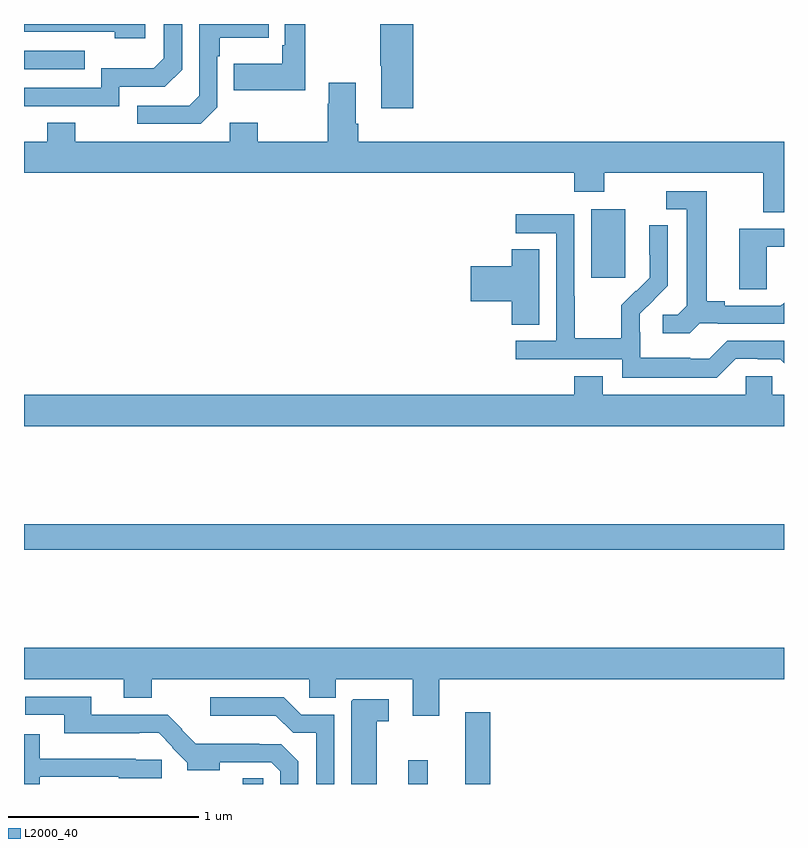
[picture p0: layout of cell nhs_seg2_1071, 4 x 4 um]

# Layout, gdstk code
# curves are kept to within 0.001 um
import gdstk
lib = gdstk.Library(unit=1e-6, precision=1e-09)
def R(c, l, rs):  # rectangles x0, y0, x1, y1
    for r in rs: c.add(gdstk.rectangle(r[:2], r[2:], *l))
def P(c, l, *ps):  # polygons
    for p in ps: c.add(gdstk.Polygon(p, *l))
L2000_40 = (2000, 40)

nhs_seg2_1071 = lib.new_cell('nhs_seg2_1071')
R(nhs_seg2_1071, L2000_40, [(168.15,597.8,168.258,597.83), (169.022,597.8,169.126,597.925), (169.322,597.8,169.454,598.177), (167,599.032,171,599.168), (169.985,600.465,170.164,600.826), (167,601.563,167.321,601.659)])
P(nhs_seg2_1071, L2000_40, [(168.018,601.362),(168.018,601.631),(168.031,601.631),(168.031,601.727),(168.287,601.727),(168.287,601.8),(167.922,601.8),(167.922,601.422),(167.871,601.371),(167.595,601.371),(167.595,601.275),(167.931,601.275)],
  [(167.638,601.8),(167,601.8),(167,601.758),(167.477,601.758),(167.477,601.724),(167.638,601.724)],
  [(168.481,601.8),(168.372,601.8),(168.372,601.687),(168.36,601.687),(168.36,601.591),(168.103,601.591),(168.103,601.451),(168.481,601.451)],
  [(169.049,601.8),(168.874,601.8),(168.874,601.579),(168.881,601.579),(168.881,601.356),(169.049,601.356)],
  [(167.502,601.47),(167.742,601.47),(167.832,601.56),(167.832,601.8),(167.736,601.8),(167.736,601.62),(167.683,601.567),(167.406,601.567),(167.406,601.464),(167,601.464),(167,601.368),(167.502,601.368)],
  [(171,601.18),(168.758,601.18),(168.758,601.276),(168.745,601.276),(168.745,601.492),(168.605,601.492),(168.605,601.379),(168.598,601.379),(168.598,601.18),(168.231,601.18),(168.231,601.279),(168.084,601.279),(168.084,601.18),(167.271,601.18),(167.271,601.279),(167.123,601.279),(167.123,601.18),(167,601.18),(167,601.016),(169.895,601.016),(169.895,600.917),(170.055,600.917),(170.055,601.016),(170.891,601.016),(170.891,600.808),(171,600.808)],
  [(170.556,600.225),(170.65,600.225),(170.65,600.222),(171,600.222),(171,600.334),(170.984,600.318),(170.689,600.318),(170.689,600.341),(170.593,600.341),(170.593,600.921),(170.379,600.921),(170.379,600.825),(170.489,600.825),(170.489,600.317),(170.442,600.27),(170.361,600.27),(170.361,600.173),(170.504,600.173)],
  [(170.745,600.039),(170.861,600.039),(170.861,600.036),(170.979,600.036),(171,600.015),(171,600.132),(170.7,600.132),(170.607,600.039),(170.507,600.039),(170.507,600.043),(170.244,600.043),(170.244,600.177),(170.242,600.177),(170.242,600.274),(170.388,600.422),(170.388,600.74),(170.292,600.74),(170.292,600.586),(170.294,600.586),(170.294,600.464),(170.223,600.393),(170.22,600.396),(170.143,600.319),(170.143,600.145),(169.899,600.145),(169.899,600.368),(169.896,600.368),(169.896,600.798),(169.587,600.798),(169.587,600.699),(169.8,600.699),(169.8,600.132),(169.587,600.132),(169.587,600.036),(170.148,600.036),(170.148,599.939),(170.645,599.939)],
  [(170.91,600.627),(171,600.627),(171,600.723),(170.765,600.723),(170.765,600.403),(170.91,600.403)],
  [(169.711,600.614),(169.568,600.614),(169.568,600.524),(169.35,600.524),(169.35,600.341),(169.568,600.341),(169.568,600.217),(169.711,600.217)],
  [(171,599.848),(170.937,599.848),(170.937,599.946),(170.799,599.946),(170.799,599.848),(170.047,599.848),(170.047,599.947),(169.895,599.947),(169.895,599.848),(167,599.848),(167,599.684),(171,599.684)],
  [(169.186,598.352),(171,598.352),(171,598.516),(167,598.516),(167,598.352),(167.525,598.352),(167.525,598.253),(167.673,598.253),(167.673,598.352),(168.501,598.352),(168.501,598.254),(168.64,598.254),(168.64,598.352),(169.046,598.352),(169.046,598.158),(169.186,598.158)],
  [(168.444,597.921),(168.355,598.01),(168.239,598.01),(168.239,598.012),(167.905,598.012),(167.831,598.085),(167.833,598.087),(167.757,598.164),(167.353,598.164),(167.353,598.26),(167.007,598.26),(167.007,598.164),(167.213,598.164),(167.213,598.067),(167.606,598.067),(167.606,598.07),(167.708,598.07),(167.784,597.993),(167.781,597.99),(167.86,597.912),(167.86,597.872),(168.031,597.872),(168.031,597.915),(168.3,597.915),(168.348,597.867),(168.348,597.8),(168.444,597.8)],
  [(168.633,598.164),(168.459,598.164),(168.366,598.257),(167.979,598.257),(167.979,598.16),(168.325,598.16),(168.416,598.069),(168.537,598.069),(168.537,597.8),(168.633,597.8)],
  [(168.856,598.129),(168.919,598.129),(168.919,598.245),(168.732,598.245),(168.722,598.235),(168.722,597.8),(168.856,597.8)],
  [(167.082,597.837),(167.499,597.837),(167.499,597.831),(167.724,597.831),(167.724,597.927),(167.589,597.927),(167.589,597.934),(167.083,597.934),(167.083,598.063),(167,598.063),(167,597.8),(167.082,597.8)])

lib.write_gds('nhs_seg2_1071.gds')
